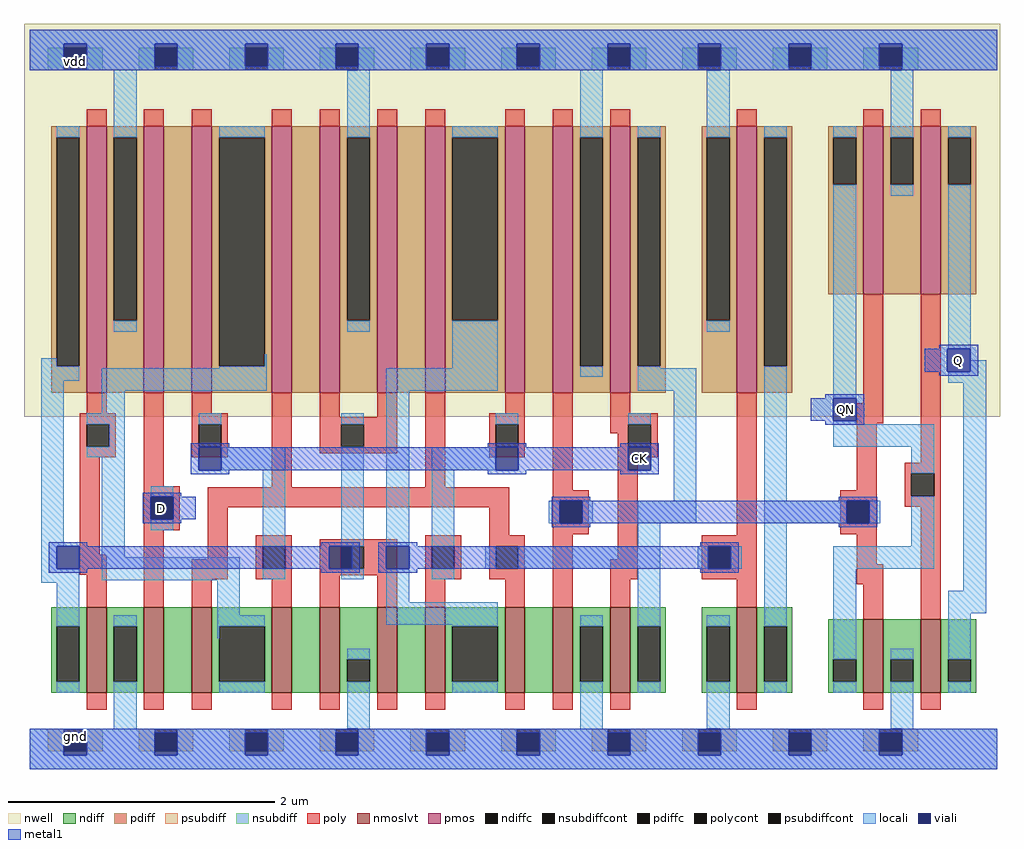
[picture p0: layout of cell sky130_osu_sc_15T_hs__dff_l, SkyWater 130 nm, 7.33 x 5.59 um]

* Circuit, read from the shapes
.subckt sky130_osu_sc_15T_hs__dff_l D Q QN CK
XM1 gnd n1 n2 gnd sky130_fd_pr__nfet_01v8_lvt w=0.64 l=0.15
XM2 n3 D gnd gnd sky130_fd_pr__nfet_01v8_lvt w=0.64 l=0.15
XM3 n1 n4 n3 gnd sky130_fd_pr__nfet_01v8_lvt w=0.64 l=0.15
XM4 n5 CK n1 gnd sky130_fd_pr__nfet_01v8_lvt w=0.64 l=0.15
XM5 gnd n2 n5 gnd sky130_fd_pr__nfet_01v8_lvt w=0.64 l=0.15
XM6 n6 n2 gnd gnd sky130_fd_pr__nfet_01v8_lvt w=0.64 l=0.15
XM7 n7 CK n6 gnd sky130_fd_pr__nfet_01v8_lvt w=0.64 l=0.15
XM8 n8 n4 n7 gnd sky130_fd_pr__nfet_01v8_lvt w=0.64 l=0.15
XM9 gnd n9 n8 gnd sky130_fd_pr__nfet_01v8_lvt w=0.64 l=0.15
XM10 n4 CK gnd gnd sky130_fd_pr__nfet_01v8_lvt w=0.64 l=0.15
XM11 n9 n7 gnd gnd sky130_fd_pr__nfet_01v8_lvt w=0.64 l=0.15
XM12 gnd n9 QN gnd sky130_fd_pr__nfet_01v8_lvt w=0.55 l=0.15
XM13 Q QN gnd gnd sky130_fd_pr__nfet_01v8_lvt w=0.55 l=0.15
XM14 vdd n1 n2 vdd sky130_fd_pr__pfet_01v8 w=2 l=0.15
XM15 n10 D vdd vdd sky130_fd_pr__pfet_01v8 w=2 l=0.15
XM16 n1 CK n10 vdd sky130_fd_pr__pfet_01v8 w=2 l=0.15
XM17 n11 n4 n1 vdd sky130_fd_pr__pfet_01v8 w=2 l=0.15
XM18 vdd n2 n11 vdd sky130_fd_pr__pfet_01v8 w=2 l=0.15
XM19 n12 n2 vdd vdd sky130_fd_pr__pfet_01v8 w=2 l=0.15
XM20 n7 n4 n12 vdd sky130_fd_pr__pfet_01v8 w=2 l=0.15
XM21 n13 CK n7 vdd sky130_fd_pr__pfet_01v8 w=2 l=0.15
XM22 vdd n9 n13 vdd sky130_fd_pr__pfet_01v8 w=2 l=0.15
XM23 n4 CK vdd vdd sky130_fd_pr__pfet_01v8 w=2 l=0.15
XM24 n9 n7 vdd vdd sky130_fd_pr__pfet_01v8 w=2 l=0.15
XM25 vdd n9 QN vdd sky130_fd_pr__pfet_01v8 w=1.26 l=0.15
XM26 Q QN vdd vdd sky130_fd_pr__pfet_01v8 w=1.26 l=0.15
.ends

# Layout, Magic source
magic
tech sky130A
magscale 1 2
<< nwell >>
rect -9 529 1456 1119
<< nmoslvt >>
rect 85 115 115 243
rect 171 115 201 243
rect 243 115 273 243
rect 363 115 393 243
rect 435 115 465 243
rect 521 115 551 243
rect 593 115 623 243
rect 713 115 743 243
rect 785 115 815 243
rect 871 115 901 243
rect 1061 115 1091 243
rect 1251 115 1281 225
rect 1337 115 1367 225
<< pmos >>
rect 85 565 115 965
rect 171 565 201 965
rect 243 565 273 965
rect 363 565 393 965
rect 435 565 465 965
rect 521 565 551 965
rect 593 565 623 965
rect 713 565 743 965
rect 785 565 815 965
rect 871 565 901 965
rect 1061 565 1091 965
rect 1251 713 1281 965
rect 1337 713 1367 965
<< ndiff >>
rect 32 215 85 243
rect 32 131 40 215
rect 74 131 85 215
rect 32 115 85 131
rect 115 215 171 243
rect 115 131 126 215
rect 160 131 171 215
rect 115 115 171 131
rect 201 115 243 243
rect 273 215 363 243
rect 273 131 284 215
rect 352 131 363 215
rect 273 115 363 131
rect 393 115 435 243
rect 465 165 521 243
rect 465 131 476 165
rect 510 131 521 165
rect 465 115 521 131
rect 551 115 593 243
rect 623 215 713 243
rect 623 131 634 215
rect 702 131 713 215
rect 623 115 713 131
rect 743 115 785 243
rect 815 215 871 243
rect 815 131 826 215
rect 860 131 871 215
rect 815 115 871 131
rect 901 215 954 243
rect 901 131 912 215
rect 946 131 954 215
rect 901 115 954 131
rect 1008 215 1061 243
rect 1008 131 1016 215
rect 1050 131 1061 215
rect 1008 115 1061 131
rect 1091 215 1144 243
rect 1091 131 1102 215
rect 1136 131 1144 215
rect 1091 115 1144 131
rect 1198 165 1251 225
rect 1198 131 1206 165
rect 1240 131 1251 165
rect 1198 115 1251 131
rect 1281 165 1337 225
rect 1281 131 1292 165
rect 1326 131 1337 165
rect 1281 115 1337 131
rect 1367 165 1420 225
rect 1367 131 1378 165
rect 1412 131 1420 165
rect 1367 115 1420 131
<< pdiff >>
rect 32 949 85 965
rect 32 605 40 949
rect 74 605 85 949
rect 32 565 85 605
rect 115 949 171 965
rect 115 673 126 949
rect 160 673 171 949
rect 115 565 171 673
rect 201 565 243 965
rect 273 949 363 965
rect 273 605 284 949
rect 352 605 363 949
rect 273 565 363 605
rect 393 565 435 965
rect 465 949 521 965
rect 465 673 476 949
rect 510 673 521 949
rect 465 565 521 673
rect 551 565 593 965
rect 623 949 713 965
rect 623 673 634 949
rect 702 673 713 949
rect 623 565 713 673
rect 743 565 785 965
rect 815 949 871 965
rect 815 605 826 949
rect 860 605 871 949
rect 815 565 871 605
rect 901 949 954 965
rect 901 605 912 949
rect 946 605 954 949
rect 901 565 954 605
rect 1008 949 1061 965
rect 1008 673 1016 949
rect 1050 673 1061 949
rect 1008 565 1061 673
rect 1091 949 1144 965
rect 1091 605 1102 949
rect 1136 605 1144 949
rect 1198 949 1251 965
rect 1198 877 1206 949
rect 1240 877 1251 949
rect 1198 713 1251 877
rect 1281 949 1337 965
rect 1281 877 1292 949
rect 1326 877 1337 949
rect 1281 713 1337 877
rect 1367 949 1420 965
rect 1367 877 1378 949
rect 1412 877 1420 949
rect 1367 713 1420 877
rect 1091 565 1144 605
<< ndiffc >>
rect 40 131 74 215
rect 126 131 160 215
rect 284 131 352 215
rect 476 131 510 165
rect 634 131 702 215
rect 826 131 860 215
rect 912 131 946 215
rect 1016 131 1050 215
rect 1102 131 1136 215
rect 1206 131 1240 165
rect 1292 131 1326 165
rect 1378 131 1412 165
<< pdiffc >>
rect 40 605 74 949
rect 126 673 160 949
rect 284 605 352 949
rect 476 673 510 949
rect 634 673 702 949
rect 826 605 860 949
rect 912 605 946 949
rect 1016 673 1050 949
rect 1102 605 1136 949
rect 1206 877 1240 949
rect 1292 877 1326 949
rect 1378 877 1412 949
<< psubdiff >>
rect 27 27 51 61
rect 85 27 109 61
rect 163 27 187 61
rect 221 27 245 61
rect 299 27 323 61
rect 357 27 381 61
rect 435 27 459 61
rect 493 27 517 61
rect 571 27 595 61
rect 629 27 653 61
rect 707 27 731 61
rect 765 27 789 61
rect 843 27 867 61
rect 901 27 925 61
rect 979 27 1003 61
rect 1037 27 1061 61
rect 1115 27 1139 61
rect 1173 27 1197 61
rect 1251 27 1275 61
rect 1309 27 1333 61
<< nsubdiff >>
rect 27 1049 51 1083
rect 85 1049 109 1083
rect 163 1049 187 1083
rect 221 1049 245 1083
rect 299 1049 323 1083
rect 357 1049 381 1083
rect 435 1049 459 1083
rect 493 1049 517 1083
rect 571 1049 595 1083
rect 629 1049 653 1083
rect 707 1049 731 1083
rect 765 1049 789 1083
rect 843 1049 867 1083
rect 901 1049 925 1083
rect 979 1049 1003 1083
rect 1037 1049 1061 1083
rect 1115 1049 1139 1083
rect 1173 1049 1197 1083
rect 1251 1049 1275 1083
rect 1309 1049 1333 1083
<< psubdiffcont >>
rect 51 27 85 61
rect 187 27 221 61
rect 323 27 357 61
rect 459 27 493 61
rect 595 27 629 61
rect 731 27 765 61
rect 867 27 901 61
rect 1003 27 1037 61
rect 1139 27 1173 61
rect 1275 27 1309 61
<< nsubdiffcont >>
rect 51 1049 85 1083
rect 187 1049 221 1083
rect 323 1049 357 1083
rect 459 1049 493 1083
rect 595 1049 629 1083
rect 731 1049 765 1083
rect 867 1049 901 1083
rect 1003 1049 1037 1083
rect 1139 1049 1173 1083
rect 1275 1049 1309 1083
<< poly >>
rect 85 965 115 991
rect 171 965 201 991
rect 243 965 273 991
rect 363 965 393 991
rect 435 965 465 991
rect 521 965 551 991
rect 593 965 623 991
rect 713 965 743 991
rect 785 965 815 991
rect 871 965 901 991
rect 1061 965 1091 991
rect 1251 965 1281 991
rect 1337 965 1367 991
rect 85 534 115 565
rect 75 518 129 534
rect 75 484 85 518
rect 119 484 129 518
rect 75 468 129 484
rect 75 322 105 468
rect 171 425 201 565
rect 243 534 273 565
rect 243 518 297 534
rect 243 484 253 518
rect 287 484 297 518
rect 243 468 297 484
rect 171 409 225 425
rect 363 423 393 565
rect 435 528 465 565
rect 521 528 551 565
rect 435 518 551 528
rect 435 484 467 518
rect 501 484 551 518
rect 435 474 551 484
rect 593 423 623 565
rect 713 534 743 565
rect 689 518 743 534
rect 689 484 699 518
rect 733 484 743 518
rect 689 468 743 484
rect 171 375 181 409
rect 215 375 225 409
rect 171 359 225 375
rect 267 393 719 423
rect 75 292 115 322
rect 85 243 115 292
rect 171 243 201 359
rect 267 315 297 393
rect 689 351 719 393
rect 785 419 815 565
rect 871 534 901 565
rect 871 518 942 534
rect 871 504 898 518
rect 882 484 898 504
rect 932 484 942 518
rect 882 468 942 484
rect 785 403 839 419
rect 785 369 795 403
rect 829 369 839 403
rect 785 353 839 369
rect 243 285 297 315
rect 339 335 393 351
rect 339 301 349 335
rect 383 301 393 335
rect 339 285 393 301
rect 243 243 273 285
rect 363 243 393 285
rect 435 335 551 345
rect 435 301 467 335
rect 501 301 551 335
rect 435 291 551 301
rect 435 243 465 291
rect 521 243 551 291
rect 593 335 647 351
rect 593 301 603 335
rect 637 301 647 335
rect 593 285 647 301
rect 689 335 743 351
rect 689 301 699 335
rect 733 301 743 335
rect 689 285 743 301
rect 593 243 623 285
rect 713 243 743 285
rect 785 243 815 353
rect 882 315 912 468
rect 1061 351 1091 565
rect 1251 549 1281 713
rect 1241 519 1281 549
rect 1241 419 1271 519
rect 1337 460 1367 713
rect 1216 403 1271 419
rect 1216 369 1226 403
rect 1260 369 1271 403
rect 1313 444 1367 460
rect 1313 410 1323 444
rect 1357 410 1367 444
rect 1313 394 1367 410
rect 1216 353 1271 369
rect 871 285 912 315
rect 1008 335 1091 351
rect 1008 301 1018 335
rect 1052 301 1091 335
rect 1008 285 1091 301
rect 871 243 901 285
rect 1061 243 1091 285
rect 1241 308 1271 353
rect 1241 278 1281 308
rect 1251 225 1281 278
rect 1337 225 1367 394
rect 85 89 115 115
rect 171 89 201 115
rect 243 89 273 115
rect 363 89 393 115
rect 435 89 465 115
rect 521 89 551 115
rect 593 89 623 115
rect 713 89 743 115
rect 785 89 815 115
rect 871 89 901 115
rect 1061 89 1091 115
rect 1251 89 1281 115
rect 1337 89 1367 115
<< polycont >>
rect 85 484 119 518
rect 253 484 287 518
rect 467 484 501 518
rect 699 484 733 518
rect 181 375 215 409
rect 898 484 932 518
rect 795 369 829 403
rect 349 301 383 335
rect 467 301 501 335
rect 603 301 637 335
rect 699 301 733 335
rect 1226 369 1260 403
rect 1323 410 1357 444
rect 1018 301 1052 335
<< locali >>
rect 0 1089 1452 1110
rect 0 1049 51 1089
rect 85 1049 187 1089
rect 221 1049 323 1089
rect 357 1049 459 1089
rect 493 1049 595 1089
rect 629 1049 731 1089
rect 765 1049 867 1089
rect 901 1049 1003 1089
rect 1037 1049 1139 1089
rect 1173 1049 1275 1089
rect 1309 1049 1452 1089
rect 40 949 74 965
rect 17 605 40 617
rect 126 949 160 1049
rect 126 657 160 673
rect 284 949 352 965
rect 17 583 74 605
rect 476 949 510 1049
rect 476 657 510 673
rect 634 949 702 965
rect 352 605 355 623
rect 284 602 355 605
rect 634 602 702 673
rect 17 335 51 583
rect 108 568 355 602
rect 535 568 702 602
rect 826 949 860 1049
rect 826 589 860 605
rect 912 949 946 965
rect 1016 949 1050 1049
rect 1016 657 1050 673
rect 1102 949 1136 965
rect 912 602 946 605
rect 912 568 1000 602
rect 108 534 142 568
rect 85 518 142 534
rect 119 484 142 518
rect 85 468 142 484
rect 17 301 40 335
rect 17 280 74 301
rect 108 318 142 468
rect 253 518 287 534
rect 253 483 287 484
rect 467 518 501 534
rect 287 449 383 483
rect 181 409 215 425
rect 181 359 215 375
rect 349 335 383 449
rect 467 335 501 484
rect 108 284 315 318
rect 349 285 383 301
rect 467 285 501 301
rect 535 335 569 568
rect 699 518 733 534
rect 699 483 733 484
rect 40 215 74 280
rect 281 231 315 284
rect 535 251 569 301
rect 603 449 699 483
rect 898 518 932 534
rect 898 483 932 484
rect 603 335 637 449
rect 966 403 1000 568
rect 779 369 795 403
rect 829 369 845 403
rect 912 369 1000 403
rect 1102 403 1136 605
rect 1206 949 1240 965
rect 1206 557 1240 877
rect 1292 949 1326 1049
rect 1292 861 1326 877
rect 1378 949 1412 965
rect 1378 631 1412 877
rect 1411 614 1412 631
rect 1411 597 1435 614
rect 1378 580 1435 597
rect 1206 518 1240 523
rect 1206 484 1357 518
rect 1323 444 1357 484
rect 1102 369 1226 403
rect 1260 369 1276 403
rect 912 335 946 369
rect 683 301 699 335
rect 733 301 946 335
rect 1002 301 1018 335
rect 1052 301 1068 335
rect 603 285 637 301
rect 40 115 74 131
rect 126 215 160 231
rect 281 215 352 231
rect 535 217 702 251
rect 281 197 284 215
rect 126 61 160 131
rect 634 215 702 217
rect 284 115 352 131
rect 476 165 510 181
rect 476 61 510 131
rect 634 115 702 131
rect 826 215 860 231
rect 826 61 860 131
rect 912 215 946 301
rect 912 115 946 131
rect 1016 215 1050 231
rect 1016 61 1050 131
rect 1102 215 1136 369
rect 1323 335 1357 410
rect 1102 115 1136 131
rect 1206 301 1357 335
rect 1206 165 1240 301
rect 1401 268 1435 580
rect 1378 234 1435 268
rect 1206 115 1240 131
rect 1292 165 1326 181
rect 1292 61 1326 131
rect 1378 165 1412 234
rect 1378 115 1412 131
rect 0 21 51 61
rect 85 21 187 61
rect 221 21 323 61
rect 357 21 459 61
rect 493 21 595 61
rect 629 21 731 61
rect 765 21 867 61
rect 901 21 1003 61
rect 1037 21 1139 61
rect 1173 21 1275 61
rect 1309 21 1452 61
rect 0 0 1452 21
<< viali >>
rect 51 1083 85 1089
rect 51 1055 85 1083
rect 187 1083 221 1089
rect 187 1055 221 1083
rect 323 1083 357 1089
rect 323 1055 357 1083
rect 459 1083 493 1089
rect 459 1055 493 1083
rect 595 1083 629 1089
rect 595 1055 629 1083
rect 731 1083 765 1089
rect 731 1055 765 1083
rect 867 1083 901 1089
rect 867 1055 901 1083
rect 1003 1083 1037 1089
rect 1003 1055 1037 1083
rect 1139 1083 1173 1089
rect 1139 1055 1173 1083
rect 1275 1083 1309 1089
rect 1275 1055 1309 1083
rect 40 301 74 335
rect 253 449 287 483
rect 181 375 215 409
rect 449 301 467 335
rect 467 301 483 335
rect 535 301 569 335
rect 699 449 733 483
rect 898 449 932 483
rect 795 369 829 403
rect 1377 597 1411 631
rect 1206 523 1240 557
rect 1226 369 1260 403
rect 1018 301 1052 335
rect 51 27 85 55
rect 51 21 85 27
rect 187 27 221 55
rect 187 21 221 27
rect 323 27 357 55
rect 323 21 357 27
rect 459 27 493 55
rect 459 21 493 27
rect 595 27 629 55
rect 595 21 629 27
rect 731 27 765 55
rect 731 21 765 27
rect 867 27 901 55
rect 867 21 901 27
rect 1003 27 1037 55
rect 1003 21 1037 27
rect 1139 27 1173 55
rect 1139 21 1173 27
rect 1275 27 1309 55
rect 1275 21 1309 27
<< metal1 >>
rect 0 1089 1452 1110
rect 0 1055 51 1089
rect 85 1055 187 1089
rect 221 1055 323 1089
rect 357 1055 459 1089
rect 493 1055 595 1089
rect 629 1055 731 1089
rect 765 1055 867 1089
rect 901 1055 1003 1089
rect 1037 1055 1139 1089
rect 1173 1055 1275 1089
rect 1309 1055 1452 1089
rect 0 1049 1452 1055
rect 1365 631 1423 637
rect 1343 597 1377 631
rect 1411 597 1423 631
rect 1365 591 1423 597
rect 1194 557 1252 563
rect 1172 523 1206 557
rect 1240 523 1252 557
rect 1194 517 1252 523
rect 241 483 299 489
rect 687 483 745 489
rect 886 483 944 489
rect 241 449 253 483
rect 287 449 699 483
rect 733 449 898 483
rect 932 449 944 483
rect 241 443 299 449
rect 687 443 745 449
rect 886 443 944 449
rect 169 409 227 415
rect 169 375 181 409
rect 215 375 249 409
rect 783 403 841 409
rect 1214 403 1272 409
rect 169 369 227 375
rect 783 369 795 403
rect 829 369 1226 403
rect 1260 369 1272 403
rect 783 363 841 369
rect 1214 363 1272 369
rect 28 335 86 341
rect 437 335 495 341
rect 28 301 40 335
rect 74 301 449 335
rect 483 301 495 335
rect 28 295 86 301
rect 437 295 495 301
rect 523 335 581 341
rect 1006 335 1064 341
rect 523 301 535 335
rect 569 301 1018 335
rect 1052 301 1064 335
rect 523 295 581 301
rect 1006 295 1064 301
rect 0 55 1452 61
rect 0 21 51 55
rect 85 21 187 55
rect 221 21 323 55
rect 357 21 459 55
rect 493 21 595 55
rect 629 21 731 55
rect 765 21 867 55
rect 901 21 1003 55
rect 1037 21 1139 55
rect 1173 21 1275 55
rect 1309 21 1452 55
rect 0 0 1452 21
<< labels >>
rlabel viali 198 392 198 392 1 D
port 1 n
rlabel viali 1394 614 1394 614 1 Q
port 2 n
rlabel viali 1224 540 1224 540 1 QN
port 3 n
rlabel viali 915 466 915 466 1 CK
port 4 n
rlabel viali 68 49 68 49 1 gnd
rlabel viali 68 1063 68 1063 1 vdd
<< end >>
